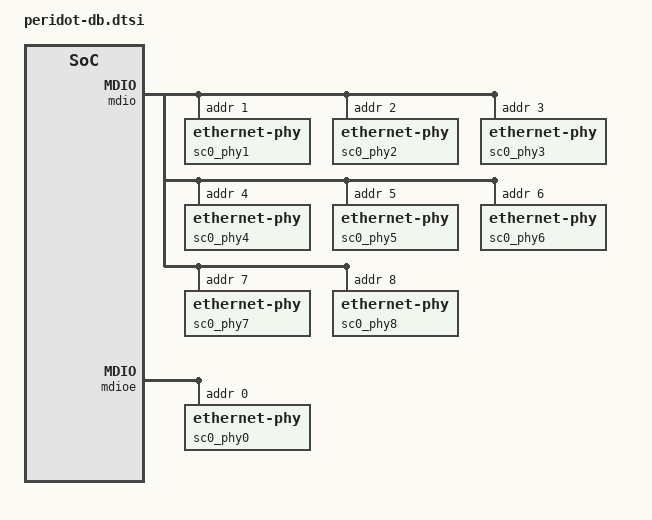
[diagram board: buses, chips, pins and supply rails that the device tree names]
/* Marvell Peridot (MV88E6390X) Development Board */

&peridot_db {
	compatible = "usb1286,1fa4";

	#address-cells = <1>;
	#size-cells = <0>;

	sc0: switch@0 {
		compatible = "marvell,mv88e6190";
		status = "ok";
		reg = <0x0>;

		dsa,member = <0 0>;
		dsa,num_tx_queues = <8>;
		interrupt-controller;
		#interrupt-cells = <2>;

		ports {
			#address-cells = <1>;
			#size-cells = <0>;

			port@0 {
				reg = <0x0>;
				label = "cpu0";
				ethernet = <&fec1>;

				/* Port0 is connected to a 1518 PHY like
				below, but the DSA driver will not handle
				this configuration properly. The driver
				will configure all CPU/DSA ports as fixed
				links; the generic DSA code will then bring
				the link down to match phylink's
				expectations on initial state. The port
				will then be forced down and never come
				up. Omitting PHY info will leave it forced
				up which, while not Right(tm), does
				work. */
				/* phy-handle = <&sc0_phy0>; */
				/* phy-mode = "rgmii"; */
			};

			port@1 {
				reg = <0x1>;
				label = "eth1";
				phy-handle = <&sc0_phy1>;
				phy-mode = "gmii";
			};
			port@2 {
				reg = <0x2>;
				label = "eth2";
				phy-handle = <&sc0_phy2>;
				phy-mode = "gmii";
			};
			port@3 {
				reg = <0x3>;
				label = "eth3";
				phy-handle = <&sc0_phy3>;
				phy-mode = "gmii";
			};
			port@4 {
				reg = <0x4>;
				label = "eth4";
				phy-handle = <&sc0_phy4>;
				phy-mode = "gmii";
			};
			port@5 {
				reg = <0x5>;
				label = "eth5";
				phy-handle = <&sc0_phy5>;
				phy-mode = "gmii";
			};
			port@6 {
				reg = <0x6>;
				label = "eth6";
				phy-handle = <&sc0_phy6>;
				phy-mode = "gmii";
			};
			port@7 {
				reg = <0x7>;
				label = "eth7";
				phy-handle = <&sc0_phy7>;
				phy-mode = "gmii";
			};
			port@8 {
				reg = <0x8>;
				label = "eth8";
				phy-handle = <&sc0_phy8>;
				phy-mode = "gmii";
			};
		};

		mdio {
			#address-cells = <1>;
			#size-cells = <0>;
			interrupt-parent = <&sc0>;

			sc0_phy1: ethernet-phy@1 { reg = <1>; };
			sc0_phy2: ethernet-phy@2 { reg = <2>; };
			sc0_phy3: ethernet-phy@3 { reg = <3>; };
			sc0_phy4: ethernet-phy@4 { reg = <4>; };
			sc0_phy5: ethernet-phy@5 { reg = <5>; };
			sc0_phy6: ethernet-phy@6 { reg = <6>; };
			sc0_phy7: ethernet-phy@7 { reg = <7>; };
			sc0_phy8: ethernet-phy@8 { reg = <8>; };
		};

		mdioe {
			compatible = "marvell,mv88e6xxx-mdio-external";
			#address-cells = <1>;
			#size-cells = <0>;
			interrupt-parent = <&sc0>;

			sc0_phy0: ethernet-phy@0 { reg = <0>; };
		};

	};
};
